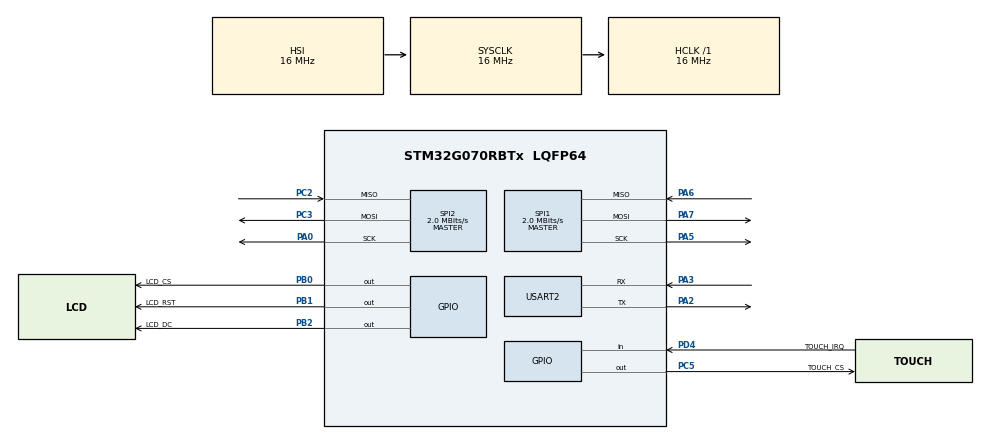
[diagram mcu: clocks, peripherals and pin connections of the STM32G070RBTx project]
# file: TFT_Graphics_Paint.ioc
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FREERTOS.Tasks01=defaultTask,24,128,StartDefaultTask,Default,NULL,Dynamic,NULL,NULL
FREERTOS.configCHECK_FOR_STACK_OVERFLOW=2
Mcu.Family=STM32G0
Mcu.Name=STM32G070RBTx
Mcu.Package=LQFP64
NVIC.TIM6_IRQn=true\:3\:0\:false\:false\:true\:false\:false\:true\:true
NVIC.TimeBase=TIM6_IRQn
NVIC.TimeBaseIP=TIM6
PA0.Mode=Full_Duplex_Master
PA0.Signal=SPI2_SCK
PA13.GPIO_Label=TMS
PA13.Mode=Serial_Wire
PA13.Signal=SYS_SWDIO
PA14-BOOT0.GPIO_Label=TCK
PA14-BOOT0.Mode=Serial_Wire
PA14-BOOT0.Signal=SYS_SWCLK
PA2.GPIO_PuPd=GPIO_PULLUP
PA2.Mode=Asynchronous
PA2.Signal=USART2_TX
PA3.GPIO_PuPd=GPIO_PULLUP
PA3.Mode=Asynchronous
PA3.Signal=USART2_RX
PA5.Mode=Full_Duplex_Master
PA5.Signal=SPI1_SCK
PA6.Mode=Full_Duplex_Master
PA6.Signal=SPI1_MISO
PA7.Mode=Full_Duplex_Master
PA7.Signal=SPI1_MOSI
PB0.GPIO_Label=LCD_CS
PB0.Signal=GPIO_Output
PB1.GPIO_Label=LCD_RST
PB1.Signal=GPIO_Output
PB2.GPIO_Label=LCD_DC
PB2.Signal=GPIO_Output
PC13.Mode=SYS_WakeUp1
PC13.Signal=SYS_WKUP2
PC14-OSC32_IN\ (PC14).Signal=RCC_OSC32_IN
PC15-OSC32_OUT\ (PC15).Signal=RCC_OSC32_OUT
PC2.Mode=Full_Duplex_Master
PC2.Signal=SPI2_MISO
PC3.Mode=Full_Duplex_Master
PC3.Signal=SPI2_MOSI
PC5.GPIO_Label=TOUCH_CS
PC5.Signal=GPIO_Output
PD4.GPIO_Label=TOUCH_IRQ
PD4.GPIO_PuPd=GPIO_PULLUP
PD4.Signal=GPIO_Input
PF0-OSC_IN\ (PF0).GPIO_Label=MCO
PF0-OSC_IN\ (PF0).Signal=RCC_OSC_IN
ProjectManager.HeapSize=0x200
ProjectManager.StackSize=0x400
ProjectManager.TargetToolchain=STM32CubeIDE
RCC.AHBFreq_Value=16000000
RCC.CortexFreq_Value=16000000
RCC.EXTERNAL_CLOCK_VALUE=12288000
RCC.HCLKFreq_Value=16000000
RCC.HSE_VALUE=8000000
RCC.HSI_VALUE=16000000
RCC.LSE_VALUE=32768
RCC.SYSCLKFreq_VALUE=16000000
RCC.VCOOutputFreq_Value=128000000
SPI1.BaudRatePrescaler=SPI_BAUDRATEPRESCALER_8
SPI1.CalculateBaudRate=2.0 MBits/s
SPI1.DataSize=SPI_DATASIZE_8BIT
SPI1.Direction=SPI_DIRECTION_2LINES
SPI1.Mode=SPI_MODE_MASTER
SPI1.VirtualType=VM_MASTER
SPI2.BaudRatePrescaler=SPI_BAUDRATEPRESCALER_8
SPI2.CalculateBaudRate=2.0 MBits/s
SPI2.DataSize=SPI_DATASIZE_8BIT
SPI2.Direction=SPI_DIRECTION_2LINES
SPI2.Mode=SPI_MODE_MASTER
SPI2.VirtualType=VM_MASTER
USART2.VirtualMode-Asynchronous=VM_ASYNC
USART2.WordLength=WORDLENGTH_8B
VP_FREERTOS_VS_CMSIS_V2.Mode=CMSIS_V2
VP_SYS_VS_tim6.Mode=TIM6
board=NUCLEO-G070RB

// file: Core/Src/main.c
/* USER CODE BEGIN Header */
/**
  ******************************************************************************
  * @file           : main.c
  * @brief          : Main program body
  ******************************************************************************
  * @attention
  *
  * Copyright (c) 2026 STMicroelectronics.
  * All rights reserved.
  *
  * This software is licensed under terms that can be found in the LICENSE file
  * in the root directory of this software component.
  * If no LICENSE file comes with this software, it is provided AS-IS.
  *
  ******************************************************************************
  */
/* USER CODE END Header */
#include "main.h"
#include "cmsis_os.h"
#include "spi.h"
#include "usart.h"
#include "gpio.h"

/* USER CODE BEGIN Includes */
#include <stdio.h>
#include <stdlib.h>
#include "display_driver.h"
#include "framebuffer.h"
#include "graphics.h"
#include "touch.h"

/* USER CODE END Includes */

/* USER CODE BEGIN PD */
#define BRUSH_SIZE		4
#define BRUSH_COLOR  0xFFFF
#define MAX_JUMP     30
/* USER CODE END PD */

void SystemClock_Config(void);
void MX_FREERTOS_Init(void);

/* USER CODE BEGIN 0 */
volatile UBaseType_t paint_hwm;		// To measure paint task stack usage
static TaskHandle_t paint_handle;

static void test_scene(void) {
    gfx_draw_rectangle(20, 10, 200, 60, 0xF800, 0);      // red outline, crosses strips 0-3
    gfx_draw_rectangle(40, 100, 80, 50, 0x07E0, 1);      // filled green, crosses strips 5-7
    gfx_draw_vline(200, 0, 320, 0x001F);                 // blue line, full screen height
    gfx_draw_brush_stamp(120, 20, 10, 0xFFFF);           // white stamp on the strip 0/1 boundary
    gfx_draw_brush_stamp(120, 200, 30, 0xFFE0);          // yellow stamp, mid-screen
}

static void clear_screen_scene(void) {
    gfx_draw_rectangle(0, 0, 240, 320, 0x0000, 1);      // Clear screen

}

static void test_task(void *arg)
{
    for (;;) {
    	paint_hwm = uxTaskGetStackHighWaterMark(paint_handle);
        HAL_UART_Transmit(&huart2, (uint8_t *)"tick\r\n", 6, HAL_MAX_DELAY);
        vTaskDelay(pdMS_TO_TICKS(500));
    }
}

static void paint_task(void *arg){

	uint8_t  stroking = 0;          // 1 while the stylus is down and moving
	uint8_t  rejected = 0;          // consecutive reads thrown away as jumps
	uint16_t last_x = 0, last_y = 0;

	for(;;){
	    uint16_t ax, ay, sx, sy;

	    if (touch_read_averaged(&ax, &ay)) {
	        touch_to_screen(ax, ay, &sx, &sy);

	        if (stroking) {
	            if (abs((int)sx - last_x) > MAX_JUMP || abs((int)sy - last_y) > MAX_JUMP) {
	                if (++rejected < 3) continue;     // ignore this one
	                stroking = 0;                      // three in a row: really moved, start a new stroke
	            }
	        }
	        rejected = 0;

	        if (stroking) {
	            gfx_paint_line(last_x, last_y, sx, sy, BRUSH_SIZE, BRUSH_COLOR);
	        } else {
	            gfx_paint_stamp(sx, sy, BRUSH_SIZE, BRUSH_COLOR);    // first point of a stroke
	            stroking = 1;
	        }
	        last_x = sx;
	        last_y = sy;
	    } else {
	        stroking = 0;           // stylus lifted: next touch starts a new stroke
	        rejected = 0;
	        vTaskDelay(pdMS_TO_TICKS(5));
	    }
	}

}
/* USER CODE END 0 */

int main(void)
{

  /* MCU Configuration--------------------------------------------------------*/

  /* Reset of all peripherals, Initializes the Flash interface and the Systick. */
  HAL_Init();

  /* Configure the system clock */
  SystemClock_Config();

  /* Initialize all configured peripherals */
  MX_GPIO_Init();
  MX_SPI1_Init();
  MX_SPI2_Init();
  MX_USART2_UART_Init();
  /* USER CODE BEGIN 2 */
  display_dma_init();
  display_init();

  /************** Basic Function Tests **************/

  fb_render(clear_screen_scene, 0x0000);        // black background

  xTaskCreate(test_task, "test", 128, NULL, 1, NULL);
  xTaskCreate(paint_task, "paint", 192, NULL, 2, &paint_handle);

  /* USER CODE END 2 */

  /* Init scheduler */
  osKernelInitialize();  /* Call init function for freertos objects (in cmsis_os2.c) */
  MX_FREERTOS_Init();

  /* Start scheduler */
  osKernelStart();

  /* We should never get here as control is now taken by the scheduler */

  /* Infinite loop */
  while (1)
  {

  }
}

void SystemClock_Config(void)
{
  RCC_OscInitTypeDef RCC_OscInitStruct = {0};
  RCC_ClkInitTypeDef RCC_ClkInitStruct = {0};

  /** Configure the main internal regulator output voltage
  */
  HAL_PWREx_ControlVoltageScaling(PWR_REGULATOR_VOLTAGE_SCALE1);

  /** Initializes the RCC Oscillators according to the specified parameters
  * in the RCC_OscInitTypeDef structure.
  */
  RCC_OscInitStruct.OscillatorType = RCC_OSCILLATORTYPE_HSI;
  RCC_OscInitStruct.HSIState = RCC_HSI_ON;
  RCC_OscInitStruct.HSIDiv = RCC_HSI_DIV1;
  RCC_OscInitStruct.HSICalibrationValue = RCC_HSICALIBRATION_DEFAULT;
  RCC_OscInitStruct.PLL.PLLState = RCC_PLL_NONE;
  if (HAL_RCC_OscConfig(&RCC_OscInitStruct) != HAL_OK)
  {
    Error_Handler();
  }

  /** Initializes the CPU, AHB and APB buses clocks
  */
  RCC_ClkInitStruct.ClockType = RCC_CLOCKTYPE_HCLK|RCC_CLOCKTYPE_SYSCLK
                              |RCC_CLOCKTYPE_PCLK1;
  RCC_ClkInitStruct.SYSCLKSource = RCC_SYSCLKSOURCE_HSI;
  RCC_ClkInitStruct.AHBCLKDivider = RCC_SYSCLK_DIV1;
  RCC_ClkInitStruct.APB1CLKDivider = RCC_HCLK_DIV1;

  if (HAL_RCC_ClockConfig(&RCC_ClkInitStruct, FLASH_LATENCY_0) != HAL_OK)
  {
    Error_Handler();
  }
}

void HAL_TIM_PeriodElapsedCallback(TIM_HandleTypeDef *htim)
{
  if (htim->Instance == TIM6)
  {
    HAL_IncTick();
  }
}

void Error_Handler(void)
{
  __disable_irq();
  while (1)
  {
  }
}

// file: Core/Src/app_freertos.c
/* USER CODE BEGIN Header */
/**
  ******************************************************************************
  * File Name          : app_freertos.c
  * Description        : Code for freertos applications
  ******************************************************************************
  * @attention
  *
  * Copyright (c) 2026 STMicroelectronics.
  * All rights reserved.
  *
  * This software is licensed under terms that can be found in the LICENSE file
  * in the root directory of this software component.
  * If no LICENSE file comes with this software, it is provided AS-IS.
  *
  ******************************************************************************
  */
/* USER CODE END Header */

#include "FreeRTOS.h"
#include "task.h"
#include "main.h"
#include "cmsis_os.h"

/* Definitions for defaultTask */
osThreadId_t defaultTaskHandle;
const osThreadAttr_t defaultTask_attributes = {
  .name = "defaultTask",
  .priority = (osPriority_t) osPriorityNormal,
  .stack_size = 128 * 4
};

void StartDefaultTask(void *argument);

void MX_FREERTOS_Init(void); /* (MISRA C 2004 rule 8.1) */

/* Hook prototypes */
void vApplicationStackOverflowHook(xTaskHandle xTask, signed char *pcTaskName);

/* USER CODE BEGIN 4 */
void vApplicationStackOverflowHook(xTaskHandle xTask, signed char *pcTaskName)
{
   /* Run time stack overflow checking is performed if
   configCHECK_FOR_STACK_OVERFLOW is defined to 1 or 2. This hook function is
   called if a stack overflow is detected. */
	__disable_irq();
	for(;;);
}
/* USER CODE END 4 */

void MX_FREERTOS_Init(void) {

  /* Create the thread(s) */
  /* creation of defaultTask */
  defaultTaskHandle = osThreadNew(StartDefaultTask, NULL, &defaultTask_attributes);

}

void StartDefaultTask(void *argument)
{
  for(;;)
  {
    osDelay(1);
  }
}
